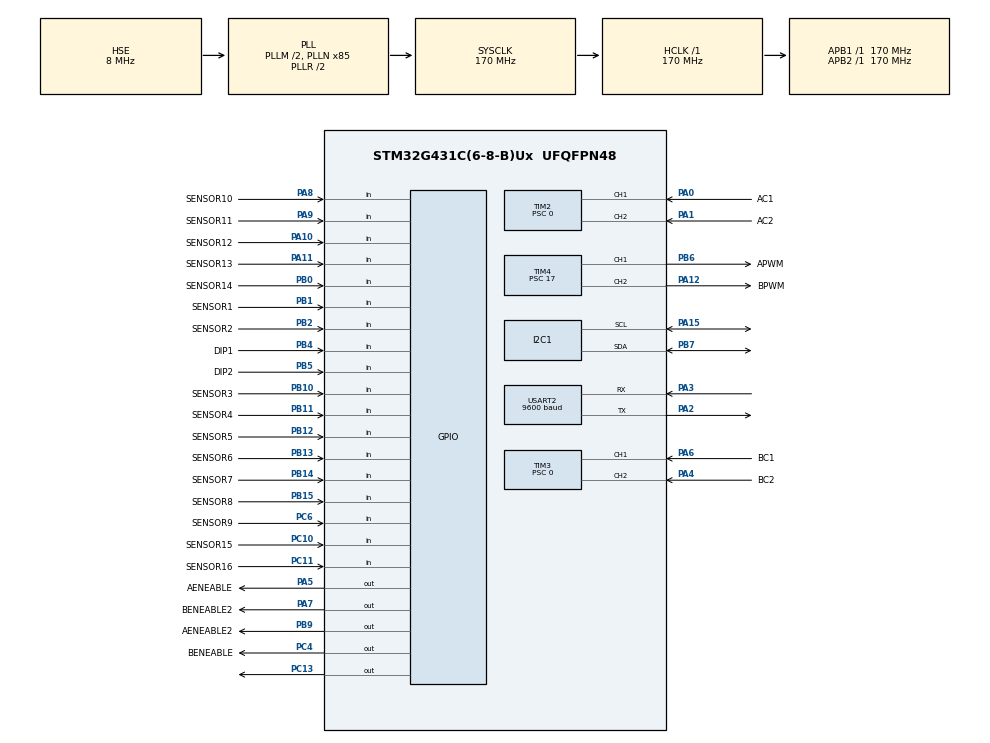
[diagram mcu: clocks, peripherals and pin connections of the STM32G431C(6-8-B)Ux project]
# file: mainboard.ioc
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I2C1.Timing=0x40B285C2
Mcu.Family=STM32G4
Mcu.Name=STM32G431C(6-8-B)Ux
Mcu.Package=UFQFPN48
NVIC.PriorityGroup=NVIC_PRIORITYGROUP_4
PA0.GPIO_Label=AC1
PA0.Signal=S_TIM2_CH1
PA1.GPIO_Label=AC2
PA1.Signal=S_TIM2_CH2
PA10.GPIO_Label=SENSOR12
PA10.Signal=GPIO_Input
PA11.GPIO_Label=SENSOR13
PA11.Signal=GPIO_Input
PA12.GPIO_Label=BPWM
PA12.Signal=S_TIM4_CH2
PA13.Mode=Trace_Asynchronous_SW
PA13.Signal=SYS_JTMS-SWDIO
PA14.Mode=Trace_Asynchronous_SW
PA14.Signal=SYS_JTCK-SWCLK
PA15.Mode=I2C
PA15.Signal=I2C1_SCL
PA2.Mode=Asynchronous
PA2.Signal=USART2_TX
PA3.Mode=Asynchronous
PA3.Signal=USART2_RX
PA4.GPIO_Label=BC2
PA4.Signal=S_TIM3_CH2
PA5.GPIO_Label=AENEABLE
PA5.Signal=GPIO_Output
PA6.GPIO_Label=BC1
PA6.Signal=S_TIM3_CH1
PA7.GPIO_Label=BENEABLE2
PA7.Signal=GPIO_Output
PA8.GPIO_Label=SENSOR10
PA8.Signal=GPIO_Input
PA9.GPIO_Label=SENSOR11
PA9.Signal=GPIO_Input
PB0.GPIO_Label=SENSOR14
PB0.Signal=GPIO_Input
PB1.GPIO_Label=SENSOR1
PB1.Signal=GPIO_Input
PB10.GPIO_Label=SENSOR3
PB10.Signal=GPIO_Input
PB11.GPIO_Label=SENSOR4
PB11.Signal=GPIO_Input
PB12.GPIO_Label=SENSOR5
PB12.Signal=GPIO_Input
PB13.GPIO_Label=SENSOR6
PB13.Signal=GPIO_Input
PB14.GPIO_Label=SENSOR7
PB14.Signal=GPIO_Input
PB15.GPIO_Label=SENSOR8
PB15.Signal=GPIO_Input
PB2.GPIO_Label=SENSOR2
PB2.Signal=GPIO_Input
PB3.Mode=Trace_Asynchronous_SW
PB3.Signal=SYS_JTDO-SWO
PB4.GPIO_Label=DIP1
PB4.Signal=GPIO_Input
PB5.GPIO_Label=DIP2
PB5.Signal=GPIO_Input
PB6.GPIO_Label=APWM
PB6.Signal=S_TIM4_CH1
PB7.Mode=I2C
PB7.Signal=I2C1_SDA
PB9.GPIO_Label=AENEABLE2
PB9.Signal=GPIO_Output
PC10.GPIO_Label=SENSOR15
PC10.Signal=GPIO_Input
PC11.GPIO_Label=SENSOR16
PC11.Signal=GPIO_Input
PC13.Signal=GPIO_Output
PC4.GPIO_Label=BENEABLE
PC4.Signal=GPIO_Output
PC6.GPIO_Label=SENSOR9
PC6.Signal=GPIO_Input
PF0-OSC_IN.Mode=HSE-External-Oscillator
PF0-OSC_IN.Signal=RCC_OSC_IN
PF1-OSC_OUT.Mode=HSE-External-Oscillator
PF1-OSC_OUT.Signal=RCC_OSC_OUT
ProjectManager.HeapSize=0x200
ProjectManager.StackSize=0x400
ProjectManager.TargetToolchain=STM32CubeIDE
RCC.ADC12Freq_Value=170000000
RCC.AHBFreq_Value=170000000
RCC.APB1Freq_Value=170000000
RCC.APB1TimFreq_Value=170000000
RCC.APB2Freq_Value=170000000
RCC.APB2TimFreq_Value=170000000
RCC.CortexFreq_Value=170000000
RCC.EXTERNAL_CLOCK_VALUE=12288000
RCC.HCLKFreq_Value=170000000
RCC.HSE_VALUE=8000000
RCC.HSI48_VALUE=48000000
RCC.HSI_VALUE=16000000
RCC.LSE_VALUE=32768
RCC.PLLM=RCC_PLLM_DIV2
RCC.PLLN=85
RCC.PLLSourceVirtual=RCC_PLLSOURCE_HSE
RCC.SYSCLKFreq_VALUE=170000000
RCC.SYSCLKSource=RCC_SYSCLKSOURCE_PLLCLK
RCC.USBFreq_Value=170000000
RCC.VCOOutputFreq_Value=340000000
SH.S_TIM2_CH1.0=TIM2_CH1,Encoder_Interface
SH.S_TIM2_CH2.0=TIM2_CH2,Encoder_Interface
SH.S_TIM3_CH1.0=TIM3_CH1,Encoder_Interface
SH.S_TIM3_CH2.0=TIM3_CH2,Encoder_Interface
SH.S_TIM4_CH1.0=TIM4_CH1,PWM Generation1 CH1
SH.S_TIM4_CH2.0=TIM4_CH2,PWM Generation2 CH2
TIM2.EncoderMode=TIM_ENCODERMODE_TI12
TIM2.PeriodNoDither=65535
TIM2.Prescaler=0
TIM3.EncoderMode=TIM_ENCODERMODE_TI12
TIM3.PeriodNoDither=65535
TIM3.Prescaler=0
TIM4.Channel-PWM\ Generation1\ CH1=TIM_CHANNEL_1
TIM4.Channel-PWM\ Generation2\ CH2=TIM_CHANNEL_2
TIM4.PeriodNoDither=999
TIM4.Prescaler=17
USART2.BaudRate=9600
USART2.VirtualMode-Asynchronous=VM_ASYNC
VP_SYS_VS_DBSignals.Mode=DisableDeadBatterySignals
VP_TIM4_VS_ClockSourceINT.Mode=Internal
board=custom

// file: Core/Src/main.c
/* USER CODE BEGIN Header */
/**
  ******************************************************************************
  * @file           : main.c
  * @brief          : Main program body
  ******************************************************************************
  * @attention
  *
  * Copyright (c) 2024 STMicroelectronics.
  * All rights reserved.
  *
  * This software is licensed under terms that can be found in the LICENSE file
  * in the root directory of this software component.
  * If no LICENSE file comes with this software, it is provided AS-IS.
  *
  ******************************************************************************
  */
/* USER CODE END Header */
#include "main.h"
#include "i2c.h"
#include "tim.h"
#include "usart.h"
#include "gpio.h"
#include "n20_motor.h"

/* USER CODE BEGIN Includes */
#include "stdio.h" // Needed for debugging
//#include "i2c.h"
//#include "MPUXX50.h"
/* USER CODE END Includes */

/* USER CODE BEGIN PM */

#define SYSTICK_LOAD (SystemCoreClock/1000000U)
#define SYSTICK_DELAY_CALIB (SYSTICK_LOAD >> 1)

#define DELAY_US(us) \
    do { \
         uint32_t start = SysTick->VAL; \
         uint32_t ticks = (us * SYSTICK_LOAD)-SYSTICK_DELAY_CALIB;  \
         while((start - SysTick->VAL) < ticks); \
    } while (0)

#define TICKS_PER_REV 1440
#define MAX_RPM 600

/* USER CODE END PM */

/* USER CODE BEGIN PV */

//int sensor_read = 0x00000000;
	int position;

	float Kp = 0.093;//0.083*1.9*1.2;//0.120/26;// 0.00325,0.0195,0.5 for 556 Base_speed also works for 656 but slghlty unstable
	float Ki = 0.00;  //0.05,0.024,0.8 for 700 Base_speed
	float Kd = 1.19;//.83*0.6*1.05; //0.03*5;//1.2; //0.5
	float Kr = 0.0008;//do not touch
	int P, I, D, R;
	int lastError = 0;
	int errors[10] = {0,0,0,0,0,0,0,0,0,0};
	int error_sum = 0;
	int last_end = 0;	// 0 -> Left, 1 -> Right
	int last_idle = 0;

	//New variables ************************************************************
	int last_error_l = 0, last_error_r = 0;
	float Kp2 = 1, Kd2 = 0.5; // Example values, needs tuning float Kp2 = 1.0, Kd2 = 0.5;
    //extern int motorspeedl, motorspeedr; // if they’re declared elsewhere
	int32_t last_encoder_l = 0; //Last left encoder position/ count
    int32_t last_encoder_r = 0; //Last right encoder position/ count
    uint32_t last_time_l = 0;
	uint32_t last_time_r = 0;// Stores the previous time when the encoder was read
	int motorspeedl = 0; //desired speeds, caluclated using PID
	int motorspeedr = 0;

	uint32_t basespeed = 650;
	uint32_t maxspeedr = 1000;
	uint32_t maxspeedl = 1000;
	uint32_t basespeedr = 600; // as a minimum 125 works
	uint32_t basespeedl = 600;// as a minimum 125 works
	const uint32_t sharp = 0;
	const int ARR = 1;//do nout touch
	const int poser = 2;//do not touch
	int SENSOR_DELAY = 5000;
	int calib_active =0;

	int actives = 0;

	N20_Motor_t left_motor;
	N20_Motor_t right_motor;

/* USER CODE END PV */

void SystemClock_Config(void);

/* USER CODE BEGIN 0 */

#ifdef __GNUC__
#define PUTCHAR_PROTOTYPE int __io_putchar(int ch)
#else
#define PUTCHAR_PROTOTYPE int fputc(int ch, FILE *f)
#endif

PUTCHAR_PROTOTYPE
{
    // Transmit the character via the specified UART.
    HAL_UART_Transmit(&huart2, (uint8_t *)&ch, 1, HAL_MAX_DELAY);
    return ch;
}
	 /* int _write(int file, char *ptr , int len)
		{
			int DataIdx;
			for(DataIdx=0;DataIdx<len; DataIdx++){
				ITM_SendChar(*ptr++);
			}return len;
		}
	*/

	void Set_Pin_Output (GPIO_TypeDef *GPIOx, uint16_t GPIO_Pin)
	{
		GPIO_InitTypeDef GPIO_InitStruct = {0};
		GPIO_InitStruct.Pin = GPIO_Pin;
		GPIO_InitStruct.Mode = GPIO_MODE_OUTPUT_PP;
		GPIO_InitStruct.Speed = GPIO_SPEED_FREQ_LOW;
		HAL_GPIO_Init(GPIOx, &GPIO_InitStruct);
	}

	void Set_Pin_Input (GPIO_TypeDef *GPIOx, uint16_t GPIO_Pin)
	{
		GPIO_InitTypeDef GPIO_InitStruct = {0};
		GPIO_InitStruct.Pin = GPIO_Pin;
		GPIO_InitStruct.Mode = GPIO_MODE_INPUT;
		GPIO_InitStruct.Pull = GPIO_PULLUP;
		HAL_GPIO_Init(GPIOx, &GPIO_InitStruct);
	}

//Motor control function was removed

	int QTR16_read() {
	    //uint32_t sensor_read = 0x00000000;
	    int pos = 0;
	    int active = 0;
	    //int last_end = -1;  // Initialize to -1 to indicate no sensors are read yet already declared as global variable
	   // int actives;
	    //int last_idle = 0;
	    //int position;

		Set_Pin_Output(SENSOR1_GPIO_Port, SENSOR1_Pin);
		Set_Pin_Output(SENSOR2_GPIO_Port, SENSOR2_Pin);
		Set_Pin_Output(SENSOR3_GPIO_Port, SENSOR3_Pin);
		Set_Pin_Output(SENSOR4_GPIO_Port, SENSOR4_Pin);
		Set_Pin_Output(SENSOR5_GPIO_Port, SENSOR5_Pin);
		Set_Pin_Output(SENSOR6_GPIO_Port, SENSOR6_Pin);
		Set_Pin_Output(SENSOR7_GPIO_Port, SENSOR7_Pin);
		Set_Pin_Output(SENSOR8_GPIO_Port, SENSOR8_Pin);
		Set_Pin_Output(SENSOR9_GPIO_Port, SENSOR9_Pin);
		Set_Pin_Output(SENSOR10_GPIO_Port, SENSOR10_Pin);
		Set_Pin_Output(SENSOR11_GPIO_Port, SENSOR11_Pin);
		Set_Pin_Output(SENSOR12_GPIO_Port, SENSOR12_Pin);
		Set_Pin_Output(SENSOR13_GPIO_Port, SENSOR13_Pin);
		Set_Pin_Output(SENSOR14_GPIO_Port, SENSOR14_Pin);
		Set_Pin_Output(SENSOR15_GPIO_Port, SENSOR15_Pin);
		Set_Pin_Output(SENSOR16_GPIO_Port, SENSOR16_Pin);

		HAL_GPIO_WritePin(SENSOR1_GPIO_Port, SENSOR1_Pin,1);
		HAL_GPIO_WritePin(SENSOR2_GPIO_Port, SENSOR2_Pin,1);
		HAL_GPIO_WritePin(SENSOR3_GPIO_Port, SENSOR3_Pin,1);
		HAL_GPIO_WritePin(SENSOR4_GPIO_Port, SENSOR4_Pin,1);
		HAL_GPIO_WritePin(SENSOR5_GPIO_Port, SENSOR5_Pin,1);
		HAL_GPIO_WritePin(SENSOR6_GPIO_Port, SENSOR6_Pin,1);
		HAL_GPIO_WritePin(SENSOR7_GPIO_Port, SENSOR7_Pin,1);
		HAL_GPIO_WritePin(SENSOR8_GPIO_Port, SENSOR8_Pin,1);
		HAL_GPIO_WritePin(SENSOR9_GPIO_Port, SENSOR9_Pin,1);
		HAL_GPIO_WritePin(SENSOR10_GPIO_Port, SENSOR10_Pin,1);
		HAL_GPIO_WritePin(SENSOR11_GPIO_Port, SENSOR11_Pin,1);
		HAL_GPIO_WritePin(SENSOR12_GPIO_Port, SENSOR12_Pin,1);
		HAL_GPIO_WritePin(SENSOR13_GPIO_Port, SENSOR13_Pin,1);
		HAL_GPIO_WritePin(SENSOR14_GPIO_Port, SENSOR14_Pin,1);
		HAL_GPIO_WritePin(SENSOR15_GPIO_Port, SENSOR15_Pin,1);
		HAL_GPIO_WritePin(SENSOR16_GPIO_Port, SENSOR16_Pin,1);

		DELAY_US(20);

		Set_Pin_Input(SENSOR1_GPIO_Port, SENSOR1_Pin);
		Set_Pin_Input(SENSOR2_GPIO_Port, SENSOR2_Pin);
		Set_Pin_Input(SENSOR3_GPIO_Port, SENSOR3_Pin);
		Set_Pin_Input(SENSOR4_GPIO_Port, SENSOR4_Pin);
		Set_Pin_Input(SENSOR5_GPIO_Port, SENSOR5_Pin);
		Set_Pin_Input(SENSOR6_GPIO_Port, SENSOR6_Pin);
		Set_Pin_Input(SENSOR7_GPIO_Port, SENSOR7_Pin);
		Set_Pin_Input(SENSOR8_GPIO_Port, SENSOR8_Pin);
		Set_Pin_Input(SENSOR9_GPIO_Port, SENSOR9_Pin);
		Set_Pin_Input(SENSOR10_GPIO_Port, SENSOR10_Pin);
		Set_Pin_Input(SENSOR11_GPIO_Port, SENSOR11_Pin);
		Set_Pin_Input(SENSOR12_GPIO_Port, SENSOR12_Pin);
		Set_Pin_Input(SENSOR13_GPIO_Port, SENSOR13_Pin);
		Set_Pin_Input(SENSOR14_GPIO_Port, SENSOR14_Pin);
		Set_Pin_Input(SENSOR15_GPIO_Port, SENSOR15_Pin);
		Set_Pin_Input(SENSOR16_GPIO_Port, SENSOR16_Pin);

		// Threshold
		DELAY_US(1000);
		//DELAY_US(25);
		/*for(int i=0;i<=SENSOR_DELAY;i++)
			DELAY_US(500); */

		 printf("Hello");

	    // Read from 16 sensors
		//printf("Sensor read called");
		/*
	    if (HAL_GPIO_ReadPin(SENSOR1_GPIO_Port, SENSOR1_Pin)) {
	        //sensor_read |= 0x00000001;
	       pos += -500;
	        active++;
	        last_end = 1;
	        printf("1");
	    }
	    if (HAL_GPIO_ReadPin(SENSOR2_GPIO_Port, SENSOR2_Pin)) {
	       // sensor_read |= 0x00000002;0
	        pos += 1400;
	        active++;
	       // last_end = 1;
	        printf("2");
	    }
	    if (HAL_GPIO_ReadPin(SENSOR3_GPIO_Port, SENSOR3_Pin)) {
	      //  sensor_read |= 0x00000004;
	        pos += 2300;
	        active++;
	        printf("3");
	    }
	    if (HAL_GPIO_ReadPin(SENSOR4_GPIO_Port, SENSOR4_Pin)) {
	       // sensor_read |= 0x00000008;
	        pos += 3200;
	        active++;
	        printf("4");
	    }
	    */
	    if (HAL_GPIO_ReadPin(SENSOR5_GPIO_Port, SENSOR5_Pin)) {
	        //sensor_read |= 0x00000010;
	        pos += 1000;
	        active++;
	        last_end=1;
	        printf("5");
	    }
	    if (HAL_GPIO_ReadPin(SENSOR6_GPIO_Port, SENSOR6_Pin)) {
	       // sensor_read |= 0x00000020;
	        pos += 2000;
	        active++;
	        printf("6");
	    }
	    if (HAL_GPIO_ReadPin(SENSOR7_GPIO_Port, SENSOR7_Pin)) {
	       // sensor_read |= 0x00000040;
	        pos += 3000;
	        active++;
	        printf("7");
	    }
	    if (HAL_GPIO_ReadPin(SENSOR8_GPIO_Port, SENSOR8_Pin)) {
	      //  sensor_read |= 0x00000080;
	        pos += 4000;
	        active++;
	        printf("8");
	    }
	    if (HAL_GPIO_ReadPin(SENSOR9_GPIO_Port, SENSOR9_Pin)) {
	       // sensor_read |= 0x00000100;
	        pos += 5000;
	        active++;
	        printf("9");
	    }
	    if (HAL_GPIO_ReadPin(SENSOR10_GPIO_Port, SENSOR10_Pin)) {
	      //  sensor_read |= 0x00000200;
	        pos += 6000;
	        active++;
	        printf("10");
	    }
	    if (HAL_GPIO_ReadPin(SENSOR11_GPIO_Port, SENSOR11_Pin)) {
	      //  sensor_read |= 0x00000400;
	        pos += 7000;
	        active++;
	        printf("11");
	    }
	    if (HAL_GPIO_ReadPin(SENSOR12_GPIO_Port, SENSOR12_Pin)) {
	      //  sensor_read |= 0x00000800;
	        pos += 8000;
	        active++;
	        last_end=0;
	        printf("12");
	    }
	    /*
	    if (HAL_GPIO_ReadPin(SENSOR13_GPIO_Port, SENSOR13_Pin)) {
	      //  sensor_read |= 0x00001000;
	        pos += 11800;
	        active++;
	        printf("13");
	    }
	    if (HAL_GPIO_ReadPin(SENSOR14_GPIO_Port, SENSOR14_Pin)) {
	       // sensor_read |= 0x00002000;
	        pos += 12700;
	        active++;
	        printf("14");
	    }
	    if (HAL_GPIO_ReadPin(SENSOR15_GPIO_Port, SENSOR15_Pin)) {
	      // sensor_read |= 0x00004000;
	        pos += 13600;
	        active++;
	       // last_end = 0;
	        printf("15");
	    }
	    if (HAL_GPIO_ReadPin(SENSOR16_GPIO_Port, SENSOR16_Pin)) {
	       // sensor_read |= 0x00008000;
	        pos += 14500;
	        active++;
	        last_end = 0;
	        printf("16");
	    }
	*/
	    // Calculate the average position
	    actives = active;
	     // Handle division by zero
	    //position = pos/active;
	    if (actives == 0){
	        last_idle++;
	    	return -1;
	    }else
	    {
	        last_idle = 0;
	    }
	    printf("helloo\n");

	   // HAL_Delay(10);

	    return   pos / active ;
	    //return 0;

	}

	void sharp_turn() {
    if (last_idle < 10) {
        if (last_end == 0) {
            // last line detected on left side
        	Motor_Set_Speed(&right_motor, 200);
        	Motor_Set_Speed(&left_motor, 500);
             // right, left speeds
        } else {
        	Motor_Set_Speed(&right_motor, 500);
            Motor_Set_Speed(&left_motor, 200);  // right, left speeds
        }
    } else {
        // sharp turns when line lost longer
        if (last_end == 0) {
        	Motor_Set_Speed(&right_motor, 1000);
        	Motor_Set_Speed(&left_motor, -230);
            // right forward, left reverse
        } else {
        	Motor_Set_Speed(&right_motor, -230);
        	Motor_Set_Speed(&left_motor, 1000);
            // right reverse, left forward
        }
    }

    printf("Sharp turn\n");
}

	void forward_brake(int speed_right, int speed_left)
    {
    if (actives == 0)
        sharp_turn();
     else{

    	Motor_Set_Speed(&right_motor, speed_right);
    	Motor_Set_Speed(&left_motor, speed_left);
    }
   }

	int errors_sum (int index, int abs)
	{
	  int sum = 0;
	  for (int i = 0; i < index; i++)
	  {
	    if (abs == 1 && errors[i] < 0)
	      sum += -errors[i];
	    else
	      sum += errors[i];
	  }
	  return sum;
	}
	void past_errors (int error)
		{
		  for (int i = 9; i > 0; i--)
			  errors[i] = errors[i-1];
		  errors[0] = error;
		}

/*
	void past_errors (int error)
	{
	  for (int i = 9; i > 0; i--)
		  errors[i] = errors[i-1];
	  errors[0] = error;
	}

	int errors_sum (int index, int abs)
	{
	  int sum = 0;
	  for (int i = 0; i < index; i++)
	  {
		if ((abs == 1) &( errors[i] < 0))
		  sum += -errors[i];
		else
		  sum += errors[i];
	  }
	  return sum;
	}//*/

	// Inner PID control loop
	void inner_pid_control(int speed_r, int speed_l) {

	int actual_speed_l = Motor_Get_Scaled_RPM(&left_motor);
    int actual_speed_r = Motor_Get_Scaled_RPM(&right_motor);

    int error_l = speed_l - actual_speed_l;
    int error_r = speed_r - actual_speed_r;

    int P_l = error_l;
    int P_r = error_r;

    int D_l = error_l - last_error_l;
    int D_r = error_r - last_error_r;

    last_error_l = error_l;
    last_error_r = error_r;

    int pwm_l = P_l * Kp2 + D_l * Kd2;
    int pwm_r = P_r * Kp2 + D_r * Kd2;

    if (pwm_l > maxspeedl) pwm_l = maxspeedl;
    if (pwm_l < -maxspeedl) pwm_l = -maxspeedl;

    if (pwm_r > maxspeedr) pwm_r = maxspeedr;
    if (pwm_r < -maxspeedr) pwm_r = -maxspeedr;

    forward_brake(pwm_r, pwm_l);

	}

	// Outer PID control
	void PID_control() {
		uint32_t position = QTR16_read();
	  int error = (4500) - position;  // needs to be changed for 16 array?
		past_errors(error);

	  P = error;
	  I = //errors_sum(50, 0);
	  D = error - lastError;
	  R = errors_sum(2, 1);
	  lastError = error;

	  int motorspeed = P*Kp + I*Ki + D*Kd;

	  //******************* */
	  motorspeedl = basespeedl + motorspeed - R*Kr;
	  motorspeedr = basespeedr - motorspeed - R*Kr;

      if (motorspeedl > maxspeedl) motorspeedl = maxspeedl;  //implement antiwindup for potential speed increase and acuracy?
      if (motorspeedl < -maxspeedl) motorspeedl = -maxspeedl;

      if (motorspeedr > maxspeedr) motorspeedr = maxspeedr;
      if (motorspeedr < -maxspeedr) motorspeedr = -maxspeedr;

	  //printf("Motor SPEEDS : %d %d", motorspeedl, motorspeedr);

	//Inner PID loop has been introduced
      inner_pid_control(motorspeedr, motorspeedl);

	}

	void Sensor_Calib(){
		//SENSOR_DELAY =7000;
		//calib_active = 0;
		while(calib_active <8){
			//printf("hi");
			calib_active = 0;
		Set_Pin_Output(SENSOR1_GPIO_Port, SENSOR1_Pin);
				Set_Pin_Output(SENSOR2_GPIO_Port, SENSOR2_Pin);
				Set_Pin_Output(SENSOR3_GPIO_Port, SENSOR3_Pin);
				Set_Pin_Output(SENSOR4_GPIO_Port, SENSOR4_Pin);
				Set_Pin_Output(SENSOR5_GPIO_Port, SENSOR5_Pin);
				Set_Pin_Output(SENSOR6_GPIO_Port, SENSOR6_Pin);
				Set_Pin_Output(SENSOR7_GPIO_Port, SENSOR7_Pin);
				Set_Pin_Output(SENSOR8_GPIO_Port, SENSOR8_Pin);
				Set_Pin_Output(SENSOR9_GPIO_Port, SENSOR9_Pin);
				Set_Pin_Output(SENSOR10_GPIO_Port, SENSOR10_Pin);
				Set_Pin_Output(SENSOR11_GPIO_Port, SENSOR11_Pin);
				Set_Pin_Output(SENSOR12_GPIO_Port, SENSOR12_Pin);
				Set_Pin_Output(SENSOR13_GPIO_Port, SENSOR13_Pin);
				Set_Pin_Output(SENSOR14_GPIO_Port, SENSOR14_Pin);
				Set_Pin_Output(SENSOR15_GPIO_Port, SENSOR15_Pin);
				Set_Pin_Output(SENSOR16_GPIO_Port, SENSOR16_Pin);

				HAL_GPIO_WritePin(SENSOR1_GPIO_Port, SENSOR1_Pin,1);
				HAL_GPIO_WritePin(SENSOR2_GPIO_Port, SENSOR2_Pin,1);
				HAL_GPIO_WritePin(SENSOR3_GPIO_Port, SENSOR3_Pin,1);
				HAL_GPIO_WritePin(SENSOR4_GPIO_Port, SENSOR4_Pin,1);
				HAL_GPIO_WritePin(SENSOR5_GPIO_Port, SENSOR5_Pin,1);
				HAL_GPIO_WritePin(SENSOR6_GPIO_Port, SENSOR6_Pin,1);
				HAL_GPIO_WritePin(SENSOR7_GPIO_Port, SENSOR7_Pin,1);
				HAL_GPIO_WritePin(SENSOR8_GPIO_Port, SENSOR8_Pin,1);
				HAL_GPIO_WritePin(SENSOR9_GPIO_Port, SENSOR9_Pin,1);
				HAL_GPIO_WritePin(SENSOR10_GPIO_Port, SENSOR10_Pin,1);
				HAL_GPIO_WritePin(SENSOR11_GPIO_Port, SENSOR11_Pin,1);
				HAL_GPIO_WritePin(SENSOR12_GPIO_Port, SENSOR12_Pin,1);
				HAL_GPIO_WritePin(SENSOR13_GPIO_Port, SENSOR13_Pin,1);
				HAL_GPIO_WritePin(SENSOR14_GPIO_Port, SENSOR14_Pin,1);
				HAL_GPIO_WritePin(SENSOR15_GPIO_Port, SENSOR15_Pin,1);
				HAL_GPIO_WritePin(SENSOR16_GPIO_Port, SENSOR16_Pin,1);

				DELAY_US(15);

				Set_Pin_Input(SENSOR1_GPIO_Port, SENSOR1_Pin);
				Set_Pin_Input(SENSOR2_GPIO_Port, SENSOR2_Pin);
				Set_Pin_Input(SENSOR3_GPIO_Port, SENSOR3_Pin);
				Set_Pin_Input(SENSOR4_GPIO_Port, SENSOR4_Pin);
				Set_Pin_Input(SENSOR5_GPIO_Port, SENSOR5_Pin);
				Set_Pin_Input(SENSOR6_GPIO_Port, SENSOR6_Pin);
				Set_Pin_Input(SENSOR7_GPIO_Port, SENSOR7_Pin);
				Set_Pin_Input(SENSOR8_GPIO_Port, SENSOR8_Pin);
				Set_Pin_Input(SENSOR9_GPIO_Port, SENSOR9_Pin);
				Set_Pin_Input(SENSOR10_GPIO_Port, SENSOR10_Pin);
				Set_Pin_Input(SENSOR11_GPIO_Port, SENSOR11_Pin);
				Set_Pin_Input(SENSOR12_GPIO_Port, SENSOR12_Pin);
				Set_Pin_Input(SENSOR13_GPIO_Port, SENSOR13_Pin);
				Set_Pin_Input(SENSOR14_GPIO_Port, SENSOR14_Pin);
				Set_Pin_Input(SENSOR15_GPIO_Port, SENSOR15_Pin);
				Set_Pin_Input(SENSOR16_GPIO_Port, SENSOR16_Pin);

				DELAY_US(SENSOR_DELAY);
						if (HAL_GPIO_ReadPin(SENSOR1_GPIO_Port, SENSOR1_Pin)) {

							calib_active++;
					        printf("1");
					    }
					    if (HAL_GPIO_ReadPin(SENSOR2_GPIO_Port, SENSOR2_Pin)) {
					        calib_active++;
					        printf("2");
					    }
					    if (HAL_GPIO_ReadPin(SENSOR3_GPIO_Port, SENSOR3_Pin)) {
					    	calib_active++;;
					        printf("3");
					    }
					    if (HAL_GPIO_ReadPin(SENSOR4_GPIO_Port, SENSOR4_Pin)) {
					    	calib_active++;
					        printf("4");
					    }
					    if (HAL_GPIO_ReadPin(SENSOR5_GPIO_Port, SENSOR5_Pin)) {
					    	calib_active++;
					        printf("5");
					    }
					    if (HAL_GPIO_ReadPin(SENSOR6_GPIO_Port, SENSOR6_Pin)) {
					    	calib_active++;
					        printf("6");
					    }
					    if (HAL_GPIO_ReadPin(SENSOR7_GPIO_Port, SENSOR7_Pin)) {
					    	calib_active++;
					        printf("7");
					    }
					    if (HAL_GPIO_ReadPin(SENSOR8_GPIO_Port, SENSOR8_Pin)) {
					    	calib_active++;
					        printf("8");
					    }
					    if (HAL_GPIO_ReadPin(SENSOR9_GPIO_Port, SENSOR9_Pin)) {
					        calib_active++;
					        printf("9");
					    }
					    if (HAL_GPIO_ReadPin(SENSOR10_GPIO_Port, SENSOR10_Pin)) {
					    	calib_active++;
					        printf("10");
					    }
					    if (HAL_GPIO_ReadPin(SENSOR11_GPIO_Port, SENSOR11_Pin)) {
					    	calib_active++;
					        printf("11");
					    }
					    if (HAL_GPIO_ReadPin(SENSOR12_GPIO_Port, SENSOR12_Pin)) {
					    	calib_active++;
					        printf("12");
					    }
					    if (HAL_GPIO_ReadPin(SENSOR13_GPIO_Port, SENSOR13_Pin)) {
					    	calib_active++;
					        printf("13");
					    }
					    if (HAL_GPIO_ReadPin(SENSOR14_GPIO_Port, SENSOR14_Pin)) {
					    	calib_active++;
					        printf("14");
					    }
					    if (HAL_GPIO_ReadPin(SENSOR15_GPIO_Port, SENSOR15_Pin)) {
					    	calib_active++;
					        printf("15");
					    }
					    if (HAL_GPIO_ReadPin(SENSOR16_GPIO_Port, SENSOR16_Pin)) {
					    	//calib_active++;
					        printf("16");
					    }

					    printf("\n%d\n",SENSOR_DELAY--);
		}

	}

/* USER CODE END 0 */

int main(void)
{

  /* MCU Configuration--------------------------------------------------------*/

  /* Reset of all peripherals, Initializes the Flash interface and the Systick. */
  HAL_Init();

  /* Configure the system clock */
  SystemClock_Config();

  /* Initialize all configured peripherals */
  MX_GPIO_Init();
  MX_TIM2_Init();
  MX_I2C1_Init();
  MX_TIM3_Init();
  MX_USART2_UART_Init();
  MX_TIM4_Init();
  /* USER CODE BEGIN 2 */
  //************************************* */
  HAL_TIM_Encoder_Start(&htim2, TIM_CHANNEL_ALL);  // Left motor encoder
  HAL_TIM_Encoder_Start(&htim3, TIM_CHANNEL_ALL);  // Right motor encoder

 // HAL_TIM_Encoder_Start(&htim4, TIM_CHANNEL_ALL);
  HAL_TIM_PWM_Start(&htim4, TIM_CHANNEL_1);
  HAL_TIM_PWM_Start(&htim4, TIM_CHANNEL_2);

  Motor_Init(&left_motor,  &htim4, TIM_CHANNEL_1, &htim2, GPIOA, GPIO_PIN_5, GPIOB, GPIO_PIN_9);
  Motor_Init(&right_motor, &htim4, TIM_CHANNEL_2, &htim3, GPIOC, GPIO_PIN_4, GPIOA, GPIO_PIN_7);

  GPIO_PinState pb4 = HAL_GPIO_ReadPin(GPIOB, GPIO_PIN_4);
  GPIO_PinState pb5 = HAL_GPIO_ReadPin(GPIOB, GPIO_PIN_5);
  if(pb4 == GPIO_PIN_SET)
  {
	  if(pb5==GPIO_PIN_SET)
	  {
		  basespeedl = 600;
		  basespeedr = 600;
		  Kp = 0.10315656;
		  Kd = 1.03168776;
	  }else
	  {

	  }
  }else{

  }

  /* USER CODE END 2 */

  /* Infinite loop */
  while (1)
  {
	  printf("helloww");
    /* USER CODE BEGIN 3 */
	 //QTR16_read();
	 QTR16_read();
    //PID_control();         // Outer loop calculates desired motor speeds
	DELAY_US(200);

	  //printf("Hi");

	  //Sensor_Calib();
	  //printf("hi\n");
	  //printf("delay %d\n",SENSOR_DELAY);
	  //HAL_GPIO_WritePin(BENABLE_GPIO_Port, BENABLE_Pin, 0);
	  //__HAL_TIM_SET_COMPARE(&htim2,TIM_CHANNEL_1,1023);
	  //HAL_GPIO_WritePin(AENANBLE_GPIO_Port, AENANBLE_Pin, 1);
	  //__HAL_TIM_SET_COMPARE(&htim2,TIM_CHANNEL_2,1023);
  }
  /* USER CODE END 3 */
}

void SystemClock_Config(void)
{
  RCC_OscInitTypeDef RCC_OscInitStruct = {0};
  RCC_ClkInitTypeDef RCC_ClkInitStruct = {0};

  /** Configure the main internal regulator output voltage
  */
  HAL_PWREx_ControlVoltageScaling(PWR_REGULATOR_VOLTAGE_SCALE1_BOOST);

  /** Initializes the RCC Oscillators according to the specified parameters
  * in the RCC_OscInitTypeDef structure.
  */
  RCC_OscInitStruct.OscillatorType = RCC_OSCILLATORTYPE_HSE;
  RCC_OscInitStruct.HSEState = RCC_HSE_ON;
  RCC_OscInitStruct.PLL.PLLState = RCC_PLL_ON;
  RCC_OscInitStruct.PLL.PLLSource = RCC_PLLSOURCE_HSE;
  RCC_OscInitStruct.PLL.PLLM = RCC_PLLM_DIV2;
  RCC_OscInitStruct.PLL.PLLN = 85;
  RCC_OscInitStruct.PLL.PLLP = RCC_PLLP_DIV2;
  RCC_OscInitStruct.PLL.PLLQ = RCC_PLLQ_DIV2;
  RCC_OscInitStruct.PLL.PLLR = RCC_PLLR_DIV2;
  if (HAL_RCC_OscConfig(&RCC_OscInitStruct) != HAL_OK)
  {
    Error_Handler();
  }

  /** Initializes the CPU, AHB and APB buses clocks
  */
  RCC_ClkInitStruct.ClockType = RCC_CLOCKTYPE_HCLK|RCC_CLOCKTYPE_SYSCLK
                              |RCC_CLOCKTYPE_PCLK1|RCC_CLOCKTYPE_PCLK2;
  RCC_ClkInitStruct.SYSCLKSource = RCC_SYSCLKSOURCE_PLLCLK;
  RCC_ClkInitStruct.AHBCLKDivider = RCC_SYSCLK_DIV1;
  RCC_ClkInitStruct.APB1CLKDivider = RCC_HCLK_DIV1;
  RCC_ClkInitStruct.APB2CLKDivider = RCC_HCLK_DIV1;

  if (HAL_RCC_ClockConfig(&RCC_ClkInitStruct, FLASH_LATENCY_4) != HAL_OK)
  {
    Error_Handler();
  }
}

void Error_Handler(void)
{
  __disable_irq();
  while (1)
  {
  }
}
